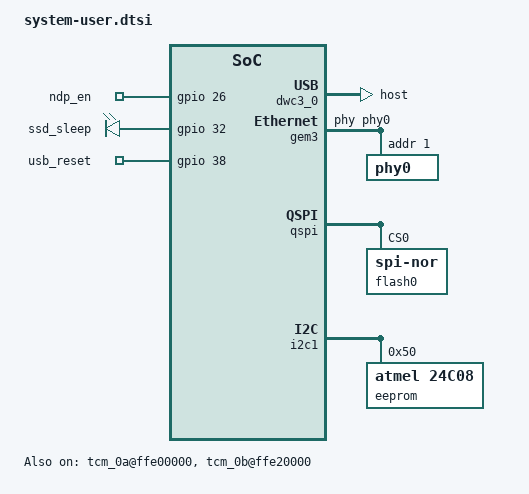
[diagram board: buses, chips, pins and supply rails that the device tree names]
/include/ "system-conf.dtsi"
/ {
  chosen {
    xlnx,eeprom = &eeprom;
  };
    reserved-memory {
        #address-cells = <2>;
        #size-cells = <2>;
        ranges;
        rpu0vdev0vring0: rpu0vdev0vring0@3ed40000 {
        no-map;
        reg = <0x0 0x3ed40000 0x0 0x4000>;
        };
        rpu0vdev0vring1: rpu0vdev0vring1@3ed44000 {
        no-map;
        reg = <0x0 0x3ed44000 0x0 0x4000>;
        };
        rpu0vdev0buffer: rpu0vdev0buffer@3ed48000 {
        no-map;
        reg = <0x0 0x3ed48000 0x0 0x100000>;
        };
        rproc_0_reserved: rproc@3ed00000 {
        no-map;
        reg = <0x0 0x3ed00000 0x0 0x40000>;
        };
    };
    tcm_0a@ffe00000 {
        no-map;
        reg = <0x0 0xffe00000 0x0 0x10000>;
        phandle = <0x40>;
        status = "okay";
        compatible = "mmio-sram";
    };

    tcm_0b@ffe20000 {
        no-map;
        reg = <0x0 0xffe20000 0x0 0x10000>;
        phandle = <0x41>;
        status = "okay";
        compatible = "mmio-sram";
    };

    rf5ss@ff9a0000 {
        compatible = "xlnx,zynqmp-r5-remoteproc";
        xlnx,cluster-mode = <1>;
        ranges;
        reg = <0x0 0xFF9A0000 0x0 0x10000>;
        #address-cells = <0x2>;
        #size-cells = <0x2>;
        r5f_0 {
        compatible = "xilinx,r5f";
        #address-cells = <2>;
        #size-cells = <2>;
        ranges;
        sram = <0x40 0x41>;
        memory-region = <&rproc_0_reserved>, <&rpu0vdev0buffer>, <&rpu0vdev0vring0>,
        <&rpu0vdev0vring1>;
        power-domain = <0x7>;
        mboxes = <&ipi_mailbox_rpu0 0>, <&ipi_mailbox_rpu0 1>;
        mbox-names = "tx", "rx";
    };
};
zynqmp_ipi1 {
compatible = "xlnx,zynqmp-ipi-mailbox";
interrupt-parent = <&gic>;
interrupts = <0 29 4>;
xlnx,ipi-id = <7>;
#address-cells = <1>;
#size-cells = <1>;
ranges;
/* APU<->RPU0 IPI mailbox controller */
ipi_mailbox_rpu0: mailbox@ff990600 {
reg = <0xff990600 0x20>,
<0xff990620 0x20>,
<0xff9900c0 0x20>,
<0xff9900e0 0x20>;
reg-names = "local_request_region",
"local_response_region",
"remote_request_region",
"remote_response_region";
#mbox-cells = <1>;
xlnx,ipi-id = <1>;
};
};
};
 
#include <dt-bindings/gpio/gpio.h>
 
/* SD */
 
&sdhci0 {
    disable-wp;
    no-1-8-v;
};
 
/* USB  */
 
&dwc3_0 {
    status = "okay";
    dr_mode = "host";
    //snps,usb3_lpm_capable;
    //snps,dis_u3_susphy_quirk;
    //snps,dis_u2_susphy_quirk;
    //phy-names = "usb2-phy","usb3-phy";
    //phys = <&lane1 4 0 2 26000000>;
    //maximum-speed = "super-speed";
};
 
/ {
    leds {
        compatible = "gpio-leds";
        ndp_en {
            label = "ndp_en";
            gpios = <&gpio 26 GPIO_ACTIVE_HIGH>;
            default-state = "on";
        };
        ssd_sleep {
            label = "ssd_sleep";
            gpios = <&gpio 32 GPIO_ACTIVE_HIGH>;
            default-state = "on";
        };
        usb_reset {
            label = "usb_reset";
            gpios = <&gpio 38 GPIO_ACTIVE_HIGH>;
            default-state = "on";
        };
    };
};
 
/* ETH PHY */
 
&gem3 {
    phy-handle = <&phy0>;
    phy0: phy0@1 {
        device_type = "ethernet-phy";
        reg = <1>;
    };
};
 
/* QSPI */
 
&qspi {
    #address-cells = <1>;
    #size-cells = <0>;
    status = "okay";
    flash0: flash@0 {
        compatible = "jedec,spi-nor";
        reg = <0x0>;
        #address-cells = <1>;
        #size-cells = <1>;
    };
};
 
 
/* I2C */
&i2c1 {
    eeprom: eeprom@50 {
        compatible = "atmel,24c08";
        reg = <0x50>;
    };
};

    

